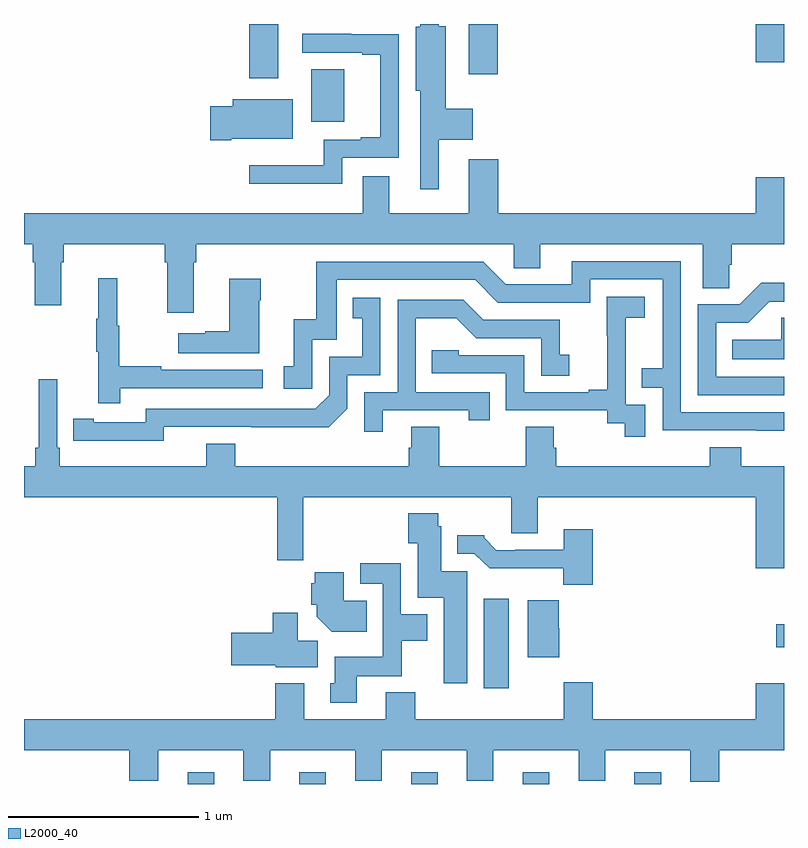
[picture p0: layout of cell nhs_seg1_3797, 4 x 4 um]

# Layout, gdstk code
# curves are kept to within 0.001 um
import gdstk
lib = gdstk.Library(unit=1e-6, precision=1e-09)
def R(c, l, rs):  # rectangles x0, y0, x1, y1
    for r in rs: c.add(gdstk.rectangle(r[:2], r[2:], *l))
def A(c, l, x, y, w, h, nx, ny, dx, dy):  # array of equal rectangles
    R(c, l, [(x+i*dx, y+j*dy, x+i*dx+w, y+j*dy+h) for i in range(nx) for j in range(ny)])
def P(c, l, *ps):  # polygons
    for p in ps: c.add(gdstk.Polygon(p, *l))
L2000_40 = (2000, 40)

nhs_seg1_3797 = lib.new_cell('nhs_seg1_3797')
A(nhs_seg1_3797, L2000_40, 317.861, 574.199, 0.14, 0.062, 5, 1, 0.588, 0)
R(nhs_seg1_3797, L2000_40, [(319.421,574.704,319.552,575.173), (320.958,574.919,321,575.041), (318.512,577.685,318.685,577.96), (318.185,577.914,318.337,578.199), (319.34,577.935,319.493,578.199), (320.852,577.998,321,578.199)])
P(nhs_seg1_3797, L2000_40, [(319.183,577.589),(319.363,577.589),(319.363,577.753),(319.219,577.753),(319.219,578.188),(319.183,578.188),(319.183,578.199),(319.085,578.199),(319.085,578.184),(319.061,578.184),(319.061,577.848),(319.086,577.848),(319.086,577.329),(319.183,577.329)],
  [(318.675,577.494),(318.972,577.494),(318.972,578.145),(318.723,578.145),(318.723,578.148),(318.465,578.148),(318.465,578.049),(318.779,578.049),(318.779,578.037),(318.875,578.037),(318.875,577.603),(318.772,577.603),(318.772,577.59),(318.578,577.59),(318.578,577.456),(318.186,577.456),(318.186,577.358),(318.675,577.358)],
  [(318.091,577.595),(318.415,577.595),(318.415,577.804),(318.098,577.804),(318.098,577.766),(317.979,577.766),(317.979,577.588),(318.091,577.588)],
  [(317.893,576.944),(317.906,576.944),(317.906,577.04),(319.578,577.04),(319.578,576.913),(319.717,576.913),(319.717,577.04),(320.573,577.04),(320.573,576.808),(320.712,576.808),(320.712,576.931),(320.726,576.931),(320.726,577.04),(321,577.04),(321,577.393),(320.852,577.393),(320.852,577.204),(319.496,577.204),(319.496,577.486),(319.34,577.486),(319.34,577.204),(318.922,577.204),(318.922,577.399),(318.782,577.399),(318.782,577.204),(317,577.204),(317,577.04),(317.045,577.04),(317.045,576.944),(317.057,576.944),(317.057,576.72),(317.197,576.72),(317.197,576.944),(317.21,576.944),(317.21,577.04),(317.741,577.04),(317.741,576.944),(317.753,576.944),(317.753,576.678),(317.893,576.678)],
  [(321,576.156),(320.457,576.156),(320.457,576.951),(319.883,576.951),(319.883,576.828),(319.536,576.828),(319.416,576.948),(318.537,576.948),(318.537,576.646),(318.419,576.646),(318.419,576.399),(318.366,576.399),(318.366,576.279),(318.516,576.279),(318.516,576.537),(318.645,576.537),(318.645,576.852),(319.374,576.852),(319.494,576.732),(319.98,576.732),(319.98,576.855),(320.361,576.855),(320.361,576.386),(320.251,576.386),(320.251,576.285),(320.361,576.285),(320.361,576.06),(321,576.059)],
  [(317.507,576.282),(318.256,576.282),(318.256,576.378),(317.723,576.378),(317.723,576.398),(317.5,576.398),(317.5,576.612),(317.492,576.612),(317.492,576.862),(317.39,576.862),(317.39,576.649),(317.379,576.649),(317.379,576.475),(317.39,576.475),(317.39,576.204),(317.507,576.204)],
  [(318.238,576.746),(318.246,576.746),(318.246,576.859),(318.08,576.859),(318.08,576.581),(317.954,576.581),(317.954,576.571),(317.811,576.571),(317.811,576.467),(318.238,576.467)],
  [(321,576.342),(320.643,576.342),(320.643,576.627),(320.812,576.627),(320.923,576.738),(321,576.738),(321,576.836),(320.879,576.836),(320.766,576.723),(320.547,576.723),(320.547,576.246),(321,576.246)],
  [(320.271,576.195),(320.166,576.195),(320.166,576.425),(320.168,576.425),(320.168,576.653),(320.266,576.653),(320.266,576.763),(320.068,576.763),(320.068,576.557),(320.069,576.557),(320.069,576.274),(319.973,576.274),(319.973,576.261),(319.632,576.261),(319.632,576.456),(319.287,576.456),(319.287,576.483),(319.147,576.483),(319.147,576.36),(319.536,576.36),(319.536,576.165),(320.07,576.165),(320.07,576.097),(320.163,576.097),(320.163,576.027),(320.271,576.027)],
  [(317.736,576.078),(318.604,576.077),(318.702,576.174),(318.702,576.351),(318.876,576.351),(318.876,576.757),(318.73,576.757),(318.73,576.651),(318.779,576.651),(318.779,576.447),(318.606,576.447),(318.606,576.246),(318.534,576.174),(317.64,576.174),(317.64,576.102),(317.368,576.102),(317.368,576.122),(317.26,576.122),(317.26,576.006),(317.736,576.005)],
  [(318.889,576.165),(319.34,576.165),(319.34,576.114),(319.451,576.114),(319.451,576.261),(319.062,576.261),(319.062,576.65),(319.276,576.65),(319.38,576.546),(319.722,576.546),(319.722,576.348),(319.87,576.348),(319.87,576.457),(319.821,576.457),(319.821,576.642),(319.417,576.642),(319.312,576.747),(318.966,576.747),(318.966,576.261),(318.792,576.261),(318.792,576.054),(318.889,576.054)],
  [(321,576.653),(320.985,576.653),(320.985,576.538),(320.728,576.538),(320.728,576.434),(321,576.434)],
  [(321,575.872),(320.774,575.872),(320.774,575.971),(320.609,575.971),(320.609,575.872),(319.802,575.872),(319.802,575.97),(319.789,575.97),(319.789,576.08),(319.642,576.08),(319.642,575.872),(319.185,575.872),(319.185,576.08),(319.037,576.08),(319.037,575.97),(319.025,575.97),(319.025,575.872),(318.113,575.872),(318.113,575.989),(317.96,575.989),(317.96,575.872),(317.189,575.872),(317.189,575.968),(317.175,575.968),(317.175,576.328),(317.078,576.328),(317.078,575.968),(317.059,575.968),(317.059,575.872),(317,575.872),(317,575.708),(318.334,575.708),(318.334,575.376),(318.47,575.376),(318.47,575.708),(319.565,575.708),(319.565,575.518),(319.705,575.518),(319.705,575.708),(320.852,575.708),(320.852,575.334),(321,575.334)],
  [(319.333,575.319),(319.195,575.319),(319.195,575.556),(319.179,575.556),(319.179,575.623),(319.022,575.623),(319.022,575.467),(319.073,575.467),(319.073,575.18),(319.208,575.18),(319.208,574.728),(319.333,574.728)],
  [(319.994,575.539),(319.841,575.539),(319.841,575.433),(319.585,575.433),(319.585,575.43),(319.486,575.43),(319.422,575.494),(319.422,575.509),(319.28,575.509),(319.28,575.412),(319.371,575.412),(319.45,575.334),(319.839,575.334),(319.839,575.249),(319.994,575.249)],
  [(318.751,574.766),(318.987,574.766),(318.987,574.952),(319.123,574.952),(319.123,575.092),(318.984,575.092),(318.984,575.362),(318.771,575.362),(318.771,575.253),(318.888,575.253),(318.888,574.87),(318.635,574.87),(318.635,574.728),(318.611,574.728),(318.611,574.626),(318.751,574.626)],
  [(318.803,575.164),(318.682,575.164),(318.682,575.314),(318.53,575.314),(318.53,575.256),(318.512,575.256),(318.512,575.142),(318.542,575.142),(318.542,575.078),(318.62,575),(318.803,575)],
  [(319.816,575.019),(319.814,575.019),(319.814,575.167),(319.652,575.167),(319.652,574.866),(319.816,574.866)],
  [(318.547,574.952),(318.442,574.952),(318.442,575.101),(318.308,575.101),(318.308,574.994),(318.09,574.994),(318.09,574.823),(318.324,574.823),(318.324,574.814),(318.547,574.814)],
  [(320.66,574.376),(321,574.376),(321,574.729),(320.852,574.729),(320.852,574.54),(319.994,574.54),(319.994,574.735),(319.841,574.735),(319.841,574.54),(319.058,574.54),(319.058,574.681),(318.905,574.681),(318.905,574.54),(318.475,574.54),(318.475,574.729),(318.323,574.729),(318.323,574.54),(317,574.54),(317,574.376),(317.555,574.376),(317.555,574.217),(317.707,574.217),(317.707,574.376),(318.155,574.376),(318.155,574.216),(318.295,574.216),(318.295,574.376),(318.743,574.376),(318.743,574.216),(318.883,574.216),(318.883,574.376),(319.331,574.376),(319.331,574.216),(319.471,574.216),(319.471,574.376),(319.919,574.376),(319.919,574.216),(320.059,574.216),(320.059,574.376),(320.507,574.376),(320.507,574.212),(320.66,574.212)])

lib.write_gds('nhs_seg1_3797.gds')
